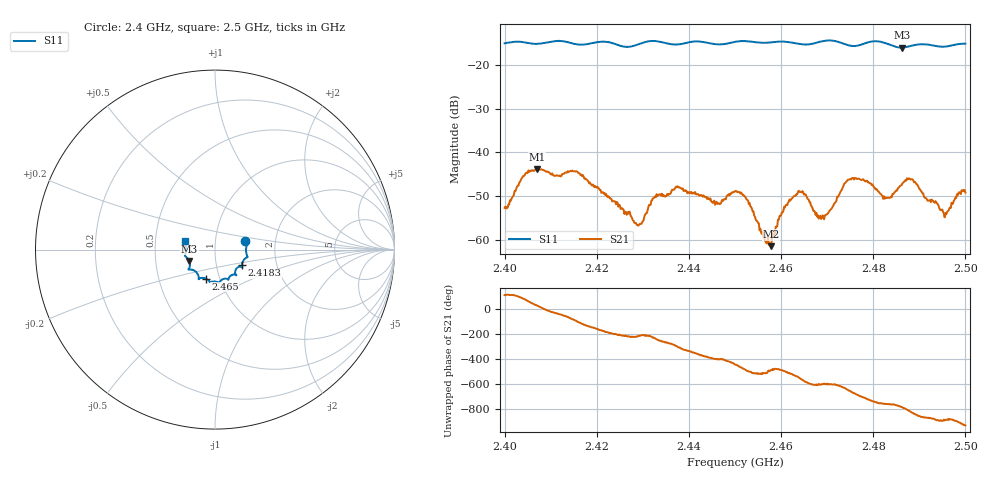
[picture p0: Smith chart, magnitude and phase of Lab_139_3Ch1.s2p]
# Hz S RI R 50
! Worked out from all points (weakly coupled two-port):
!   601 points, 2.4 GHz to 2.5 GHz, reference 50 ohm
!   highest |S21| = -43.80 dB at 2.407 GHz (marker M1); lowest = -61.4 dB at 2.4578 GHz (marker M2)
!   lowest |S11| = -16.1 dB at 2.4862 GHz (marker M3), VSWR 1.37, Z = 37.2 - j4.78 ohm
!   |S11| at or under -10 dB: start of sweep to end of sweep
!   S12 and S22 are empty: the file has one direction only
!   S11 on the Smith chart (normalised r, x): 2.4 GHz: 1.40, +0.13; 2.4183 GHz: 1.33, -0.24; 2.465 GHz: 0.86, -0.28; 2.5 GHz: 0.71, +0.07
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2.4e9  0.1687 0.0465  -0.000953 0.00213  0 0  0 0
2.404167e9  0.178 0.0262  0.000698 0.00534  0 0  0 0
2.407e9  0.1725 -0.00345  0.00557 0.00327  0 0  0 0
2.416667e9  0.1547 -0.0678  -0.00231 -0.00508  0 0  0 0
2.418333e9  0.1498 -0.087  -0.00332 -0.00296  0 0  0 0
2.428833e9  0.112 -0.127  -0.00119 0.000891  0 0  0 0
2.433333e9  0.1179 -0.1411  -0.00125 0.00299  0 0  0 0
2.437667e9  0.0848 -0.1475  0.0022 0.00334  0 0  0 0
2.446167e9  0.0523 -0.1623  0.00196 -0.00167  0 0  0 0
2.45e9  0.0259 -0.18  0.000508 -0.00354  0 0  0 0
2.452333e9  0.0207 -0.1841  -0.00172 -0.0025  0 0  0 0
2.457833e9  -0.0163 -0.1786  -0.000494 -0.000695  0 0  0 0
2.461167e9  -0.0296 -0.1794  -0.00203 -0.00151  0 0  0 0
2.465e9  -0.0525 -0.1614  -0.00274 0.00184  0 0  0 0
2.466667e9  -0.0713 -0.1571  -0.00124 0.00207  0 0  0 0
2.469667e9  -0.091 -0.1642  -0.00109 0.0016  0 0  0 0
2.475833e9  -0.1084 -0.1216  0.00316 0.00376  0 0  0 0
2.483333e9  -0.1411 -0.0964  0.00239 -0.00189  0 0  0 0
2.486167e9  -0.1433 -0.0627  0.00203 -0.00373  0 0  0 0
2.488667e9  -0.1603 -0.0424  -0.00154 -0.00457  0 0  0 0
2.495667e9  -0.1603 0.0122  -0.00197 -0.000509  0 0  0 0
2.5e9  -0.1668 0.047  -0.00307 0.00164  0 0  0 0
